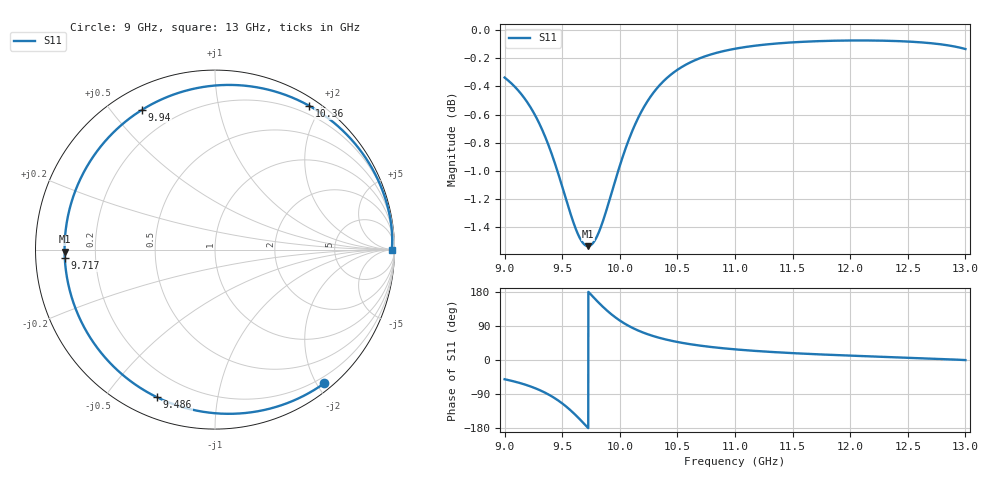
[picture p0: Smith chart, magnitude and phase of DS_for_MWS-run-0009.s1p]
! TOUCHSTONE file generated by CST DESIGN STUDIO
! Date and time: Tue Feb  4 17:59:55 2025
! Project name: C:\Work\MatlabApps\UnitCellOptimizationMatlab\CST\unitcell.cst
! Tree item: Tasks\Sweep1\SPara1\S-Parameters
! Header version: 2024
! Port assignment regex: !\s*Touchstone port\s*([0-9]+)\s*=\s*(CST MWS port|CST DES external port|CST DES block port)\s*(.+)\s* \(\"(.*)\"\)(\s*mode\s*([0-9]+))?.*
! Touchstone port assignment:
! Touchstone port 1 = CST DES external port 1 ("")
# GHz S MA R 50
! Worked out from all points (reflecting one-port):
!   4001 points, 9 GHz to 13 GHz, reference 50 ohm
!   lowest |S11| = -1.5 dB at 9.724 GHz (marker M1), VSWR 11.37, Z = 4.4 - j0.357 ohm
!   phase of S11 starts at -51 deg and turns -309 deg over the sweep
!   S11 on the Smith chart (normalised r, x): 9 GHz: 0.11, -2.10; 9.486 GHz: 0.09, -0.68; 9.717 GHz: 0.09, -0.03; 9.94 GHz: 0.09, +0.60; 10.36 GHz: 0.10, +1.84; 13 GHz: open
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9  0.962 -50.8
9.132  0.9505 -60.7
9.256  0.9342 -73.3
9.386  0.9092 -91.8
9.438  0.8966 -101.3
9.486  0.8839 -111.3
9.5  0.8801 -114.5
9.551  0.8663 -127.0
9.601  0.8538 -140.8
9.662  0.8425 -159.2
9.717  0.8383 -176.9
9.724  0.8383 -179.2
9.769  0.8406 166.2
9.817  0.8477 151.2
9.879  0.862 133.1
9.94  0.8787 117.5
10  0.8952 104.2
10.079  0.9146 89.7
10.175  0.9335 75.8
10.265  0.9469 65.6
10.364  0.9577 56.8
10.5  0.9681 47.6
10.718  0.9781 37.1
11  0.9849 28.1
11.5  0.99 18.1
12  0.9915 11.6
12.5  0.9907 6.1
13  0.9847 -0.2
